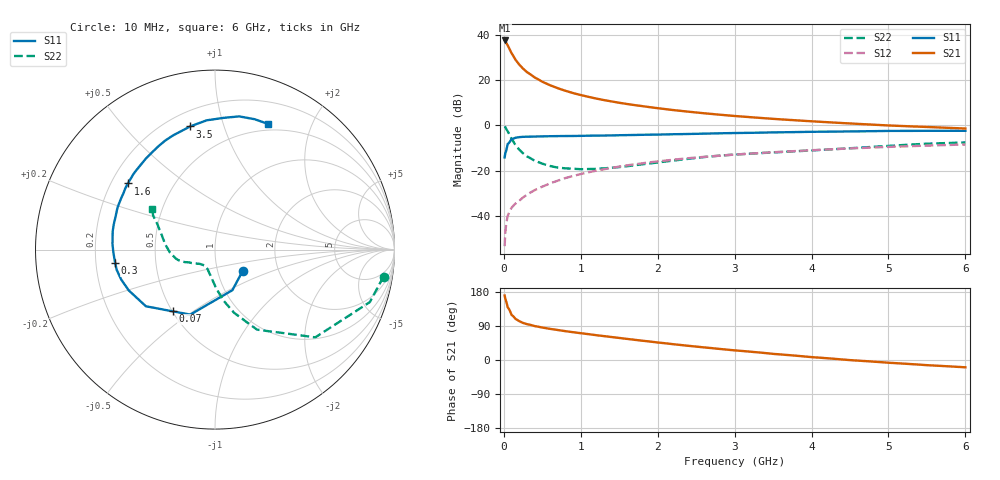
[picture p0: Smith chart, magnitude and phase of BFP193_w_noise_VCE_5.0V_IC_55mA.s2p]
! Infineon Technologies  Discrete & RF Semiconductors
! BFP193
! VCE =  5.0 V,  IC =  55 mA
! Common Emitter S-Parameters:  Jan 2017
# GHz  S  MA  R  50
!  f  S11  S21  S12  S22
! GHz  MAG  ANG  MAG  ANG  MAG  ANG  MAG  ANG
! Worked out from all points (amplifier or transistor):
!   77 points, 10 MHz to 6 GHz, reference 50 ohm
!   highest |S21| = 37.7 dB at 10 MHz (marker M1)
!   |S21| within 3 dB of that: start of sweep to 62.63 MHz
!   unconditionally stable (mu >= 1): 518.6 MHz to 2.389 GHz
!   at 130 MHz: K = 0.63, MSG = 32.9 dB, |S12| = -35.4 dB
!   at 2.2 GHz: K = 1.01, MAG = 10.4 dB, |S12| = -15.2 dB
!   at 6 GHz: K = 0.93, MSG = 3.5 dB, |S12| = -8.5 dB
!   lowest NFmin = 1.60 dB at 450 MHz
!   S11 on the Smith chart (normalised r, x): 10 MHz: 1.32, -0.33; 70 MHz: 0.50, -0.42; 300 MHz: 0.28, -0.06; 1.6 GHz: 0.27, +0.31; 3.5 GHz: 0.29, +0.78; 6 GHz: 0.43, +1.41
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0.01  0.195 -38.1  76.46 170.2  0.0021 90.3  0.9509 -9.1
0.02  0.246 -66.8  74.5 161.2  0.0044 77.5  0.9111 -18.7
0.05  0.3874 -110.8  59.61 139.3  0.0098 64.9  0.7424 -41.2
0.07  0.4171 -124.5  51.08 133.1  0.0118 63.1  0.6375 -47.7
0.1  0.4977 -140.6  39.99 119.1  0.0149 61.4  0.5036 -62.3
0.15  0.5315 -154.6  28.82 108.8  0.0184 59.8  0.3678 -73.2
0.2  0.5488 -162.4  22.32 102.5  0.0213 63.6  0.2906 -80.2
0.25  0.559 -168.3  18.13 97.8  0.0253 64.4  0.2408 -85.0
0.3  0.5611 -172.2  15.22 94.7  0.029 66.3  0.2062 -89.4
0.4  0.5663 -178.2  11.57 89.5  0.0366 67.7  0.1649 -95.7
0.5  0.572 176.9  9.293 85.6  0.0438 68.5  0.1417 -101.3
0.6  0.5754 172.7  7.79 82.2  0.0518 69.1  0.1259 -106.7
0.7  0.5792 169.5  6.689 79.2  0.0594 69.8  0.1161 -110.8
0.8  0.5814 166.0  5.866 76.1  0.068 69.0  0.1115 -114.7
1.1  0.5914 156.7  4.297 68.2  0.0914 66.6  0.1079 -126.0
1.6  0.6098 142.8  2.986 55.7  0.1298 61.0  0.1243 -140.6
2.1  0.6307 129.8  2.297 44.1  0.1661 54.8  0.158 -152.7
3.1  0.6806 108.6  1.57 23.8  0.2309 42.0  0.2308 -169.7
3.5  0.7001 101.4  1.397 16.2  0.2542 37.4  0.2517 -176.3
4.1  0.7235 92.2  1.206 6.2  0.2869 30.1  0.2846 171.7
5.1  0.7545 78.4  0.981 -8.4  0.3378 18.5  0.3597 155.0
6  0.7599 67.3  0.853 -19.3  0.3777 8.4  0.4183 147.1
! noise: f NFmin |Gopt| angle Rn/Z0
0.45  1.6  0.45  -170  0.09
0.9  1.65  0.47  -163  0.09
1.9  2.29  0.62  -131  0.25
2.4  2.64  0.64  -118  0.51
